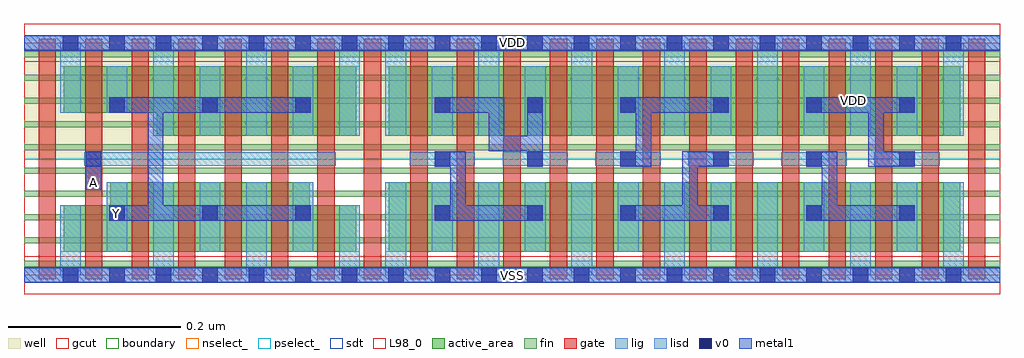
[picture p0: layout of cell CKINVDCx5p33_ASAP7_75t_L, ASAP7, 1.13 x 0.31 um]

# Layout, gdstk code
import gdstk
lib = gdstk.Library(unit=1e-6, precision=2.5e-10)
def R(c, l, rs):  # rectangles x0, y0, x1, y1
    for r in rs: c.add(gdstk.rectangle(r[:2], r[2:], *l))
def A(c, l, x, y, w, h, nx, ny, dx, dy):  # array of equal rectangles
    R(c, l, [(x+i*dx, y+j*dy, x+i*dx+w, y+j*dy+h) for i in range(nx) for j in range(ny)])
def P(c, l, *ps):  # polygons
    for p in ps: c.add(gdstk.Polygon(p, *l))
well = (1, 0)
fin = (2, 0)
gate = (7, 0)
gcut = (10, 0)
active_area = (11, 0)
nselect_ = (12, 0)
pselect_ = (13, 0)
lig = (16, 0)
lisd = (17, 0)
v0 = (18, 0)
metal1 = (19, 0)
sdt = (88, 0)
L98_0 = (98, 0)
boundary = (100, 0)

ckinvdcx5p33_asap7_75t_l = lib.new_cell('CKINVDCx5p33_ASAP7_75t_L')
R(ckinvdcx5p33_asap7_75t_l, well, [(0,0.135,1.134,0.27)])
A(ckinvdcx5p33_asap7_75t_l, fin, 0, 0.01, 1.134, 0.007, 1, 10, 0, 0.027)
A(ckinvdcx5p33_asap7_75t_l, gate, 0.017, -0.005, 0.02, 0.28, 21, 1, 0.054, 0)
R(ckinvdcx5p33_asap7_75t_l, gcut, [(0,-0.022,1.134,0.022), (0,0.248,1.134,0.292)])
R(ckinvdcx5p33_asap7_75t_l, active_area, [(0.424,0.027,1.088,0.108), (0.424,0.162,1.088,0.243)])
P(ckinvdcx5p33_asap7_75t_l, active_area, [(0.1,0.081),(0.046,0.081),(0.046,0.027),(0.386,0.027),(0.386,0.081),(0.332,0.081),(0.332,0.108),(0.1,0.108)],
  [(0.046,0.189),(0.154,0.189),(0.154,0.162),(0.386,0.162),(0.386,0.243),(0.046,0.243)])
R(ckinvdcx5p33_asap7_75t_l, nselect_, [(0,0,1.134,0.135)])
R(ckinvdcx5p33_asap7_75t_l, pselect_, [(0,0.135,1.134,0.27)])
A(ckinvdcx5p33_asap7_75t_l, lig, 0.448, 0.127, 0.076, 0.016, 6, 1, 0.108, 0)
R(ckinvdcx5p33_asap7_75t_l, lig, [(0,-0.008,1.134,0.008), (0.07,0.127,0.362,0.143), (0,0.262,1.134,0.278)])
A(ckinvdcx5p33_asap7_75t_l, lisd, 0.42, 0, 0.024, 0.108, 7, 2, 0.108, 0.162)
A(ckinvdcx5p33_asap7_75t_l, lisd, 0.096, 0.027, 0.024, 0.081, 3, 1, 0.108, 0)
A(ckinvdcx5p33_asap7_75t_l, lisd, 0.474, 0.027, 0.024, 0.081, 6, 2, 0.108, 0.135)
A(ckinvdcx5p33_asap7_75t_l, lisd, 0.15, 0.162, 0.024, 0.108, 3, 1, 0.108, 0)
R(ckinvdcx5p33_asap7_75t_l, lisd, [(0.042,0,0.066,0.081), (0.15,0,0.174,0.108), (0.258,0,0.282,0.108), (0.366,0,0.39,0.081), (0.204,0.162,0.228,0.243), (0.312,0.162,0.336,0.243), (0.042,0.189,0.066,0.27), (0.096,0.189,0.12,0.243)])
A(ckinvdcx5p33_asap7_75t_l, v0, 0.045, -0.009, 0.018, 0.018, 20, 2, 0.054, 0.27)
A(ckinvdcx5p33_asap7_75t_l, v0, 0.099, 0.063, 0.018, 0.018, 3, 2, 0.108, 0.126)
A(ckinvdcx5p33_asap7_75t_l, v0, 0.477, 0.063, 0.018, 0.018, 6, 3, 0.108, 0.063)
R(ckinvdcx5p33_asap7_75t_l, v0, [(0.072,0.126,0.09,0.144)])
R(ckinvdcx5p33_asap7_75t_l, metal1, [(0,-0.009,1.134,0.009), (0.072,0.099,0.09,0.144), (0,0.261,1.134,0.279)])
P(ckinvdcx5p33_asap7_75t_l, metal1, [(1.035,0.081),(0.945,0.081),(0.945,0.144),(0.909,0.144),(0.909,0.126),(0.927,0.126),(0.927,0.081),(0.909,0.081),(0.909,0.063),(1.035,0.063)],
  [(0.819,0.081),(0.783,0.081),(0.783,0.126),(0.819,0.126),(0.819,0.144),(0.765,0.144),(0.765,0.081),(0.693,0.081),(0.693,0.063),(0.819,0.063)],
  [(0.603,0.081),(0.513,0.081),(0.513,0.144),(0.477,0.144),(0.477,0.126),(0.495,0.126),(0.495,0.081),(0.477,0.081),(0.477,0.063),(0.603,0.063)],
  [(1.035,0.207),(0.909,0.207),(0.909,0.189),(0.981,0.189),(0.981,0.126),(1.035,0.126),(1.035,0.144),(0.999,0.144),(0.999,0.189),(1.035,0.189)],
  [(0.729,0.189),(0.819,0.189),(0.819,0.207),(0.693,0.207),(0.693,0.189),(0.711,0.189),(0.711,0.144),(0.693,0.144),(0.693,0.126),(0.729,0.126)],
  [(0.603,0.207),(0.585,0.207),(0.585,0.162),(0.558,0.162),(0.558,0.207),(0.477,0.207),(0.477,0.189),(0.54,0.189),(0.54,0.144),(0.585,0.144),(0.585,0.126),(0.603,0.126)],
  [(0.333,0.081),(0.162,0.081),(0.162,0.189),(0.333,0.189),(0.333,0.207),(0.099,0.207),(0.099,0.189),(0.144,0.189),(0.144,0.081),(0.099,0.081),(0.099,0.063),(0.333,0.063)])
A(ckinvdcx5p33_asap7_75t_l, sdt, 0.096, 0.027, 0.024, 0.081, 5, 1, 0.054, 0)
A(ckinvdcx5p33_asap7_75t_l, sdt, 0.42, 0.027, 0.024, 0.081, 13, 1, 0.054, 0)
A(ckinvdcx5p33_asap7_75t_l, sdt, 0.15, 0.162, 0.024, 0.081, 18, 1, 0.054, 0)
R(ckinvdcx5p33_asap7_75t_l, sdt, [(0.042,0.027,0.066,0.081), (0.366,0.027,0.39,0.081), (0.042,0.189,0.066,0.243), (0.096,0.189,0.12,0.243)])
R(ckinvdcx5p33_asap7_75t_l, L98_0, [(0,0,1.134,0.27)])
R(ckinvdcx5p33_asap7_75t_l, boundary, [(0,0,1.134,0.27)])
ckinvdcx5p33_asap7_75t_l.add(gdstk.Label('Y', (0.108,0.072), layer=19, texttype=251))
ckinvdcx5p33_asap7_75t_l.add(gdstk.Label('A', (0.081,0.108), layer=19, texttype=251))
ckinvdcx5p33_asap7_75t_l.add(gdstk.Label('VSS', (0.567,0), layer=19, texttype=251))
ckinvdcx5p33_asap7_75t_l.add(gdstk.Label('VDD', (0.567,0.27), layer=19, texttype=251))
ckinvdcx5p33_asap7_75t_l.add(gdstk.Label('VDD', (0.964,0.2025), layer=1, texttype=251))
ckinvdcx5p33_asap7_75t_l.add(gdstk.Label('VSS', (1.304,0.2025), layer=3, texttype=251))

lib.write_gds('CKINVDCx5p33_ASAP7_75t_L.gds')
